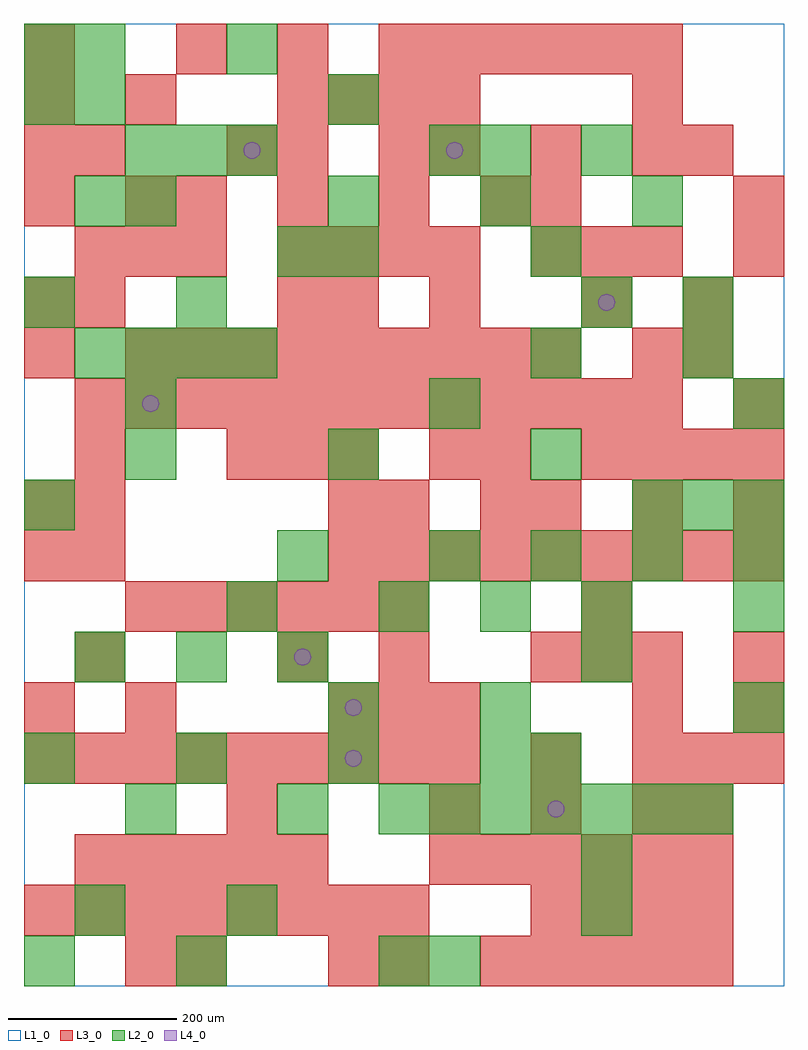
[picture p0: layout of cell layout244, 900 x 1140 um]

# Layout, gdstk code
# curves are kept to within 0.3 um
import gdstk
lib = gdstk.Library(unit=1e-6, precision=1e-09)
def R(c, l, rs):  # rectangles x0, y0, x1, y1
    for r in rs: c.add(gdstk.rectangle(r[:2], r[2:], *l))
def A(c, l, x, y, w, h, nx, ny, dx, dy):  # array of equal rectangles
    R(c, l, [(x+i*dx, y+j*dy, x+i*dx+w, y+j*dy+h) for i in range(nx) for j in range(ny)])
def P(c, l, *ps):  # polygons
    for p in ps: c.add(gdstk.Polygon(p, *l))
L1_0 = (1, 0)
L2_0 = (2, 0)
L3_0 = (3, 0)
L4_0 = (4, 0)

layout244 = lib.new_cell('layout244')
R(layout244, L1_0, [(0,0,900,1140)])
A(layout244, L2_0, 420, 180, 60, 60, 7, 1, 60, 0)
A(layout244, L2_0, 0, 240, 60, 60, 4, 1, 180, 0)
A(layout244, L2_0, 60, 360, 60, 60, 3, 1, 120, 0)
A(layout244, L2_0, 420, 420, 60, 60, 3, 1, 120, 0)
A(layout244, L2_0, 480, 480, 60, 60, 4, 1, 120, 0)
A(layout244, L2_0, 0, 540, 60, 60, 1, 3, 0, 240)
A(layout244, L2_0, 720, 540, 60, 60, 3, 1, 60, 0)
A(layout244, L2_0, 120, 600, 60, 60, 3, 1, 240, 0)
A(layout244, L2_0, 120, 660, 60, 60, 3, 1, 360, 0)
A(layout244, L2_0, 60, 720, 60, 60, 4, 1, 60, 0)
A(layout244, L2_0, 360, 900, 60, 60, 3, 1, 180, 0)
A(layout244, L2_0, 120, 960, 60, 60, 3, 1, 60, 0)
R(layout244, L2_0, [(0,0,60,60), (180,0,240,60), (420,0,480,60), (480,0,540,60), (60,60,120,120), (240,60,300,120), (660,60,720,120), (660,120,720,180), (120,180,180,240), (300,180,360,240), (600,240,660,300), (360,300,420,360), (540,300,600,360), (840,300,900,360), (660,360,720,420), (240,420,300,480), (840,420,900,480), (300,480,360,540), (600,720,660,780), (780,720,840,780), (180,780,240,840), (660,780,720,840), (780,780,840,840), (300,840,360,900), (360,840,420,900), (600,840,660,900), (60,900,120,960), (120,900,180,960), (480,960,540,1020), (540,960,600,1020), (660,960,720,1020), (60,1020,120,1080), (360,1020,420,1080), (0,1080,60,1140), (60,1080,120,1140), (240,1080,300,1140)])
A(layout244, L3_0, 540, 0, 60, 60, 5, 1, 60, 0)
A(layout244, L3_0, 0, 60, 60, 60, 8, 1, 60, 0)
A(layout244, L3_0, 600, 60, 60, 60, 4, 1, 60, 0)
A(layout244, L3_0, 60, 120, 60, 60, 5, 1, 60, 0)
A(layout244, L3_0, 480, 120, 60, 60, 6, 1, 60, 0)
A(layout244, L3_0, 480, 180, 60, 60, 3, 2, 120, 780)
A(layout244, L3_0, 0, 240, 60, 60, 9, 1, 60, 0)
A(layout244, L3_0, 720, 240, 60, 60, 3, 1, 60, 0)
A(layout244, L3_0, 360, 300, 60, 60, 3, 1, 60, 0)
A(layout244, L3_0, 600, 360, 60, 60, 3, 2, 60, 480)
A(layout244, L3_0, 120, 420, 60, 60, 6, 1, 60, 0)
A(layout244, L3_0, 60, 480, 60, 60, 1, 3, 0, 60)
A(layout244, L3_0, 360, 480, 60, 60, 9, 1, 60, 0)
A(layout244, L3_0, 600, 540, 60, 60, 3, 1, 120, 0)
A(layout244, L3_0, 240, 600, 60, 60, 3, 1, 60, 0)
A(layout244, L3_0, 660, 600, 60, 60, 4, 1, 60, 0)
A(layout244, L3_0, 60, 660, 60, 60, 12, 1, 60, 0)
A(layout244, L3_0, 120, 720, 60, 60, 9, 1, 60, 0)
A(layout244, L3_0, 60, 840, 60, 60, 3, 1, 60, 0)
A(layout244, L3_0, 300, 840, 60, 60, 4, 2, 60, 180)
A(layout244, L3_0, 0, 900, 60, 60, 1, 4, 0, 60)
A(layout244, L3_0, 180, 900, 60, 60, 4, 1, 120, 0)
A(layout244, L3_0, 180, 1080, 60, 60, 3, 1, 120, 0)
A(layout244, L3_0, 480, 1080, 60, 60, 5, 1, 60, 0)
R(layout244, L3_0, [(120,0,180,60), (180,0,240,60), (360,0,420,60), (420,0,480,60), (240,180,300,240), (780,180,840,240), (600,240,660,300), (0,300,60,360), (120,300,180,360), (720,300,780,360), (840,300,900,360), (60,360,120,420), (300,360,360,420), (420,360,480,420), (840,360,900,420), (660,420,720,480), (0,480,60,540), (0,540,60,600), (360,540,420,600), (420,540,480,600), (540,540,600,600), (480,600,540,660), (540,600,600,660), (840,660,900,720), (0,720,60,780), (720,720,780,780), (780,720,840,780), (0,780,60,840), (60,780,120,840), (300,780,360,840), (360,780,420,840), (480,780,540,840), (660,780,720,840), (780,780,840,840), (840,840,900,900), (120,900,180,960), (600,900,660,960), (840,900,900,960), (60,960,120,1020), (240,960,300,1020), (300,960,360,1020), (420,960,480,1020), (780,960,840,1020), (120,1020,180,1080), (720,1020,780,1080)])
P(layout244, L4_0, [(160,690),(159.239,693.827),(157.071,697.071),(153.827,699.239),(150,700),(146.173,699.239),(142.929,697.071),(140.761,693.827),(140,690),(140.761,686.173),(142.929,682.929),(146.173,680.761),(150,680),(153.827,680.761),(157.071,682.929),(159.239,686.173)],
  [(280,990),(279.239,993.827),(277.071,997.071),(273.827,999.239),(270,1000),(266.173,999.239),(262.929,997.071),(260.761,993.827),(260,990),(260.761,986.173),(262.929,982.929),(266.173,980.761),(270,980),(273.827,980.761),(277.071,982.929),(279.239,986.173)],
  [(340,390),(339.239,393.827),(337.071,397.071),(333.827,399.239),(330,400),(326.173,399.239),(322.929,397.071),(320.761,393.827),(320,390),(320.761,386.173),(322.929,382.929),(326.173,380.761),(330,380),(333.827,380.761),(337.071,382.929),(339.239,386.173)],
  [(400,270),(399.239,273.827),(397.071,277.071),(393.827,279.239),(390,280),(386.173,279.239),(382.929,277.071),(380.761,273.827),(380,270),(380.761,266.173),(382.929,262.929),(386.173,260.761),(390,260),(393.827,260.761),(397.071,262.929),(399.239,266.173)],
  [(400,330),(399.239,333.827),(397.071,337.071),(393.827,339.239),(390,340),(386.173,339.239),(382.929,337.071),(380.761,333.827),(380,330),(380.761,326.173),(382.929,322.929),(386.173,320.761),(390,320),(393.827,320.761),(397.071,322.929),(399.239,326.173)],
  [(520,990),(519.239,993.827),(517.071,997.071),(513.827,999.239),(510,1000),(506.173,999.239),(502.929,997.071),(500.761,993.827),(500,990),(500.761,986.173),(502.929,982.929),(506.173,980.761),(510,980),(513.827,980.761),(517.071,982.929),(519.239,986.173)],
  [(640,210),(639.239,213.827),(637.071,217.071),(633.827,219.239),(630,220),(626.173,219.239),(622.929,217.071),(620.761,213.827),(620,210),(620.761,206.173),(622.929,202.929),(626.173,200.761),(630,200),(633.827,200.761),(637.071,202.929),(639.239,206.173)],
  [(700,810),(699.239,813.827),(697.071,817.071),(693.827,819.239),(690,820),(686.173,819.239),(682.929,817.071),(680.761,813.827),(680,810),(680.761,806.173),(682.929,802.929),(686.173,800.761),(690,800),(693.827,800.761),(697.071,802.929),(699.239,806.173)])

lib.write_gds('layout244.gds')
